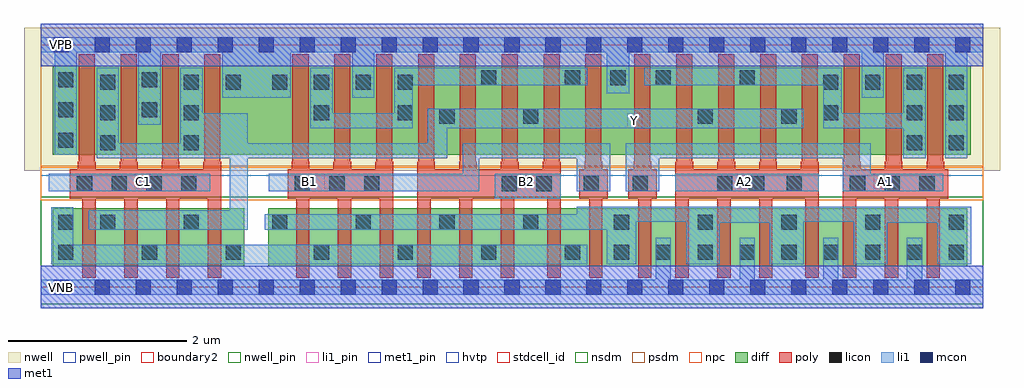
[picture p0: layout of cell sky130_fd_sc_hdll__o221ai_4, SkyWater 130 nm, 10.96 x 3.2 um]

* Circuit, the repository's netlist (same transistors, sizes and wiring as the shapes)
* Copyright 2020 The SkyWater PDK Authors
*
* Licensed under the Apache License, Version 2.0 (the "License");
* you may not use this file except in compliance with the License.
* You may obtain a copy of the License at
*
*     https://www.apache.org/licenses/LICENSE-2.0
*
* Unless required by applicable law or agreed to in writing, software
* distributed under the License is distributed on an "AS IS" BASIS,
* WITHOUT WARRANTIES OR CONDITIONS OF ANY KIND, either express or implied.
* See the License for the specific language governing permissions and
* limitations under the License.
*
* SPDX-License-Identifier: Apache-2.0

.SUBCKT sky130_fd_sc_hdll__o221ai_4 A1 A2 B1 B2 C1 VGND VNB VPB VPWR Y
*.PININFO A1:I A2:I B1:I B2:I C1:I VGND:I VNB:I VPB:I VPWR:I Y:O
MMPA0 VPWR A1 sndA1 VPB sky130_fd_pr__pfet_01v8_hvt m=4 w=1.0U l=0.18U mult=1 sa=0.265
+ sb=0.265 sd=0.28 area=0.063 perim=1.14
MMPA1 sndA1 A2 Y VPB sky130_fd_pr__pfet_01v8_hvt m=4 w=1.0U l=0.18U mult=1 sa=0.265
+ sb=0.265 sd=0.28 area=0.063 perim=1.14
MMPB0 VPWR B1 sndB1 VPB sky130_fd_pr__pfet_01v8_hvt m=4 w=1.0U l=0.18U mult=1 sa=0.265
+ sb=0.265 sd=0.28 area=0.063 perim=1.14
MMPB1 sndB1 B2 Y VPB sky130_fd_pr__pfet_01v8_hvt m=4 w=1.0U l=0.18U mult=1 sa=0.265
+ sb=0.265 sd=0.28 area=0.063 perim=1.14
MMPC0 VPWR C1 Y VPB sky130_fd_pr__pfet_01v8_hvt m=4 w=1.0U l=0.18U mult=1 sa=0.265
+ sb=0.265 sd=0.28 area=0.063 perim=1.14
MMNA0 pndA A1 VGND VNB sky130_fd_pr__nfet_01v8 m=4 w=0.65U l=0.15U mult=1 sa=0.265
+ sb=0.265 sd=0.28 area=0.063 perim=1.14
MMNA1 pndA A2 VGND VNB sky130_fd_pr__nfet_01v8 m=4 w=0.65U l=0.15U mult=1 sa=0.265
+ sb=0.265 sd=0.28 area=0.063 perim=1.14
MMNB0 pndB B1 pndA VNB sky130_fd_pr__nfet_01v8 m=4 w=0.65U l=0.15U mult=1 sa=0.265
+ sb=0.265 sd=0.28 area=0.063 perim=1.14
MMNB1 pndB B2 pndA VNB sky130_fd_pr__nfet_01v8 m=4 w=0.65U l=0.15U mult=1 sa=0.265
+ sb=0.265 sd=0.28 area=0.063 perim=1.14
MMNC0 Y C1 pndB VNB sky130_fd_pr__nfet_01v8 m=4 w=0.65U l=0.15U mult=1 sa=0.265
+ sb=0.265 sd=0.28 area=0.063 perim=1.14
.ENDS sky130_fd_sc_hdll__o221ai_4

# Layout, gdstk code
import gdstk
lib = gdstk.Library(unit=1e-6, precision=1e-09)
def R(c, l, rs):  # rectangles x0, y0, x1, y1
    for r in rs: c.add(gdstk.rectangle(r[:2], r[2:], *l))
def A(c, l, x, y, w, h, nx, ny, dx, dy):  # array of equal rectangles
    R(c, l, [(x+i*dx, y+j*dy, x+i*dx+w, y+j*dy+h) for i in range(nx) for j in range(ny)])
def P(c, l, *ps):  # polygons
    for p in ps: c.add(gdstk.Polygon(p, *l))
nwell_pin = (64, 16)
nwell = (64, 20)
diff = (65, 20)
poly = (66, 20)
licon = (66, 44)
li1_pin = (67, 16)
li1 = (67, 20)
mcon = (67, 44)
met1_pin = (68, 16)
met1 = (68, 20)
hvtp = (78, 44)
stdcell_id = (81, 4)
nsdm = (93, 44)
psdm = (94, 20)
npc = (95, 20)
pwell_pin = (122, 16)
boundary2 = (236, 0)

sky130_fd_sc_hdll__o221a = lib.new_cell('sky130_fd_sc_hdll__o221ai_4')
R(sky130_fd_sc_hdll__o221a, nwell_pin, [(0.15,2.635,0.32,2.805)])
R(sky130_fd_sc_hdll__o221a, nwell, [(-0.19,1.305,10.77,2.91)])
R(sky130_fd_sc_hdll__o221a, diff, [(0.135,0.235,2.285,0.885), (2.555,0.235,10.405,0.885), (0.135,1.485,10.44,2.485)])
P(sky130_fd_sc_hdll__o221a, poly, [(2.025,1.41),(2.015,1.41),(2.015,2.615),(1.835,2.615),(1.835,1.41),(1.825,1.41),(1.825,1.325),(1.555,1.325),(1.555,1.41),(1.545,1.41),(1.545,2.615),(1.365,2.615),(1.365,1.41),(1.355,1.41),(1.355,1.325),(1.085,1.325),(1.085,1.41),(1.075,1.41),(1.075,2.615),(0.895,2.615),(0.895,1.41),(0.885,1.41),(0.885,1.325),(0.615,1.325),(0.615,1.41),(0.605,1.41),(0.605,2.615),(0.425,2.615),(0.425,1.41),(0.415,1.41),(0.415,1.325),(0.325,1.325),(0.325,0.995),(0.465,0.995),(0.465,0.105),(0.615,0.105),(0.615,0.995),(0.935,0.995),(0.935,0.105),(1.085,0.105),(1.085,0.995),(1.405,0.995),(1.405,0.105),(1.555,0.105),(1.555,0.995),(1.875,0.995),(1.875,0.105),(2.025,0.105)],
  [(3.955,1.41),(3.945,1.41),(3.945,2.615),(3.765,2.615),(3.765,1.41),(3.755,1.41),(3.755,1.325),(3.485,1.325),(3.485,1.41),(3.475,1.41),(3.475,2.615),(3.295,2.615),(3.295,1.41),(3.285,1.41),(3.285,1.325),(3.015,1.325),(3.015,1.41),(3.005,1.41),(3.005,2.615),(2.825,2.615),(2.825,1.41),(2.815,1.41),(2.815,1.325),(2.77,1.325),(2.77,0.995),(2.865,0.995),(2.865,0.105),(3.015,0.105),(3.015,0.995),(3.335,0.995),(3.335,0.105),(3.485,0.105),(3.485,0.995),(3.805,0.995),(3.805,0.105),(3.955,0.105)],
  [(5.835,1.41),(5.825,1.41),(5.825,2.615),(5.645,2.615),(5.645,1.41),(5.635,1.41),(5.635,1.325),(5.365,1.325),(5.365,1.41),(5.355,1.41),(5.355,2.615),(5.175,2.615),(5.175,1.41),(5.165,1.41),(5.165,1.325),(4.895,1.325),(4.895,1.41),(4.885,1.41),(4.885,2.615),(4.705,2.615),(4.705,1.41),(4.695,1.41),(4.695,1.325),(4.425,1.325),(4.425,1.41),(4.415,1.41),(4.415,2.615),(4.235,2.615),(4.235,1.41),(4.225,1.41),(4.225,0.105),(4.375,0.105),(4.375,0.995),(4.695,0.995),(4.695,0.105),(4.845,0.105),(4.845,0.995),(5.165,0.995),(5.165,0.105),(5.315,0.105),(5.315,0.995),(5.685,0.995),(5.685,0.105),(5.835,0.105)],
  [(6.365,1.325),(6.305,1.325),(6.305,1.41),(6.295,1.41),(6.295,2.615),(6.115,2.615),(6.115,1.41),(6.105,1.41),(6.105,1.325),(6.045,1.325),(6.045,0.995),(6.155,0.995),(6.155,0.105),(6.305,0.105),(6.305,0.995),(6.365,0.995)],
  [(6.915,1.325),(6.855,1.325),(6.855,1.41),(6.845,1.41),(6.845,2.615),(6.665,2.615),(6.665,1.41),(6.655,1.41),(6.655,1.325),(6.595,1.325),(6.595,0.995),(6.705,0.995),(6.705,0.105),(6.855,0.105),(6.855,0.995),(6.915,0.995)],
  [(8.735,1.41),(8.725,1.41),(8.725,2.615),(8.545,2.615),(8.545,1.41),(8.535,1.41),(8.535,1.325),(8.265,1.325),(8.265,1.41),(8.255,1.41),(8.255,2.615),(8.075,2.615),(8.075,1.41),(8.065,1.41),(8.065,1.325),(7.795,1.325),(7.795,1.41),(7.785,1.41),(7.785,2.615),(7.605,2.615),(7.605,1.41),(7.595,1.41),(7.595,1.325),(7.325,1.325),(7.325,1.41),(7.315,1.41),(7.315,2.615),(7.135,2.615),(7.135,1.41),(7.125,1.41),(7.125,0.105),(7.275,0.105),(7.275,0.995),(7.595,0.995),(7.595,0.105),(7.745,0.105),(7.745,0.995),(8.065,0.995),(8.065,0.105),(8.215,0.105),(8.215,0.995),(8.585,0.995),(8.585,0.105),(8.735,0.105)],
  [(10.19,1.325),(10.145,1.325),(10.145,1.41),(10.135,1.41),(10.135,2.615),(9.955,2.615),(9.955,1.41),(9.945,1.41),(9.945,1.325),(9.675,1.325),(9.675,1.41),(9.665,1.41),(9.665,2.615),(9.485,2.615),(9.485,1.41),(9.475,1.41),(9.475,1.325),(9.205,1.325),(9.205,1.41),(9.195,1.41),(9.195,2.615),(9.015,2.615),(9.015,1.41),(9.005,1.41),(9.005,0.105),(9.155,0.105),(9.155,0.995),(9.475,0.995),(9.475,0.105),(9.625,0.105),(9.625,0.995),(9.945,0.995),(9.945,0.105),(10.095,0.105),(10.095,0.995),(10.19,0.995)])
A(sky130_fd_sc_hdll__o221a, licon, 0.195, 0.305, 0.17, 0.17, 3, 1, 0.94, 0)
A(sky130_fd_sc_hdll__o221a, licon, 3.065, 0.305, 0.17, 0.17, 4, 1, 0.94, 0)
A(sky130_fd_sc_hdll__o221a, licon, 6.435, 0.305, 0.17, 0.17, 9, 1, 0.47, 0)
A(sky130_fd_sc_hdll__o221a, licon, 2.595, 0.645, 0.17, 0.17, 4, 1, 0.94, 0)
A(sky130_fd_sc_hdll__o221a, licon, 6.435, 0.645, 0.17, 0.17, 5, 1, 0.94, 0)
A(sky130_fd_sc_hdll__o221a, licon, 0.405, 1.075, 0.17, 0.17, 4, 1, 0.39, 0)
A(sky130_fd_sc_hdll__o221a, licon, 2.85, 1.075, 0.17, 0.17, 3, 1, 0.39, 0)
A(sky130_fd_sc_hdll__o221a, licon, 9.085, 1.075, 0.17, 0.17, 3, 1, 0.39, 0)
A(sky130_fd_sc_hdll__o221a, licon, 0.665, 1.535, 0.17, 0.17, 1, 3, 0, 0.34)
A(sky130_fd_sc_hdll__o221a, licon, 1.605, 1.535, 0.17, 0.17, 1, 3, 0, 0.34)
A(sky130_fd_sc_hdll__o221a, licon, 0.195, 1.565, 0.17, 0.17, 1, 3, 0, 0.34)
A(sky130_fd_sc_hdll__o221a, licon, 2.595, 2.215, 0.17, 0.17, 4, 1, 0.47, 0)
A(sky130_fd_sc_hdll__o221a, licon, 8.785, 2.215, 0.17, 0.17, 4, 1, 0.47, 0)
A(sky130_fd_sc_hdll__o221a, licon, 5.885, 2.265, 0.17, 0.17, 3, 1, 0.51, 0)
R(sky130_fd_sc_hdll__o221a, licon, [(0.195,0.645,0.365,0.815), (0.665,0.645,0.835,0.815), (1.605,0.645,1.775,0.815), (5.175,1.075,5.345,1.245), (5.565,1.075,5.735,1.245), (6.095,1.075,6.265,1.245), (6.645,1.075,6.815,1.245), (7.595,1.075,7.765,1.245), (7.95,1.075,8.12,1.245), (8.375,1.075,8.545,1.245), (9.725,1.535,9.895,1.705), (10.195,1.535,10.365,1.705), (4.475,1.835,4.645,2.005), (5.415,1.835,5.585,2.005), (7.375,1.835,7.545,2.005), (8.315,1.835,8.485,2.005), (3.065,1.875,3.235,2.045), (4.005,1.875,4.175,2.045), (8.785,1.875,8.955,2.045), (9.725,1.875,9.895,2.045), (10.195,1.875,10.365,2.045), (1.135,1.905,1.305,2.075), (2.075,2.215,2.245,2.385), (1.135,2.245,1.305,2.415), (4.945,2.265,5.115,2.435), (7.845,2.265,8.015,2.435)])
R(sky130_fd_sc_hdll__o221a, li1_pin, [(1.055,1.105,1.225,1.275), (3.18,1.105,3.35,1.275), (5.22,1.105,5.39,1.275), (7.82,1.105,7.99,1.275), (9.35,1.105,9.52,1.275), (6.585,1.785,6.755,1.955)])
R(sky130_fd_sc_hdll__o221a, li1, [(5.095,0.995,5.835,1.275), (0.09,1.075,1.9,1.275), (7.125,1.075,8.735,1.275)])
P(sky130_fd_sc_hdll__o221a, li1, [(10.58,2.805),(0,2.805),(0,2.635),(0.155,2.635),(0.155,1.485),(0.405,1.485),(0.405,2.635),(1.095,2.635),(1.095,1.825),(1.345,1.825),(1.345,2.635),(2.035,2.635),(2.035,2.125),(2.805,2.125),(2.805,2.635),(3.495,2.635),(3.495,2.125),(3.745,2.125),(3.745,2.635),(6.355,2.635),(6.355,2.175),(6.605,2.175),(6.605,2.635),(9.215,2.635),(9.215,2.125),(9.465,2.125),(9.465,2.635),(10.155,2.635),(10.155,1.445),(10.405,1.445),(10.405,2.635),(10.58,2.635)],
  [(10.135,1.275),(9.32,1.275),(9.32,1.615),(6.565,1.615),(6.565,1.075),(6.945,1.075),(6.945,1.445),(9.005,1.445),(9.005,1.075),(10.135,1.075)],
  [(10.58,0.085),(9.895,0.085),(9.895,0.555),(9.725,0.555),(9.725,0.085),(8.955,0.085),(8.955,0.555),(8.785,0.555),(8.785,0.085),(8.015,0.085),(8.015,0.555),(7.845,0.555),(7.845,0.085),(7.075,0.085),(7.075,0.555),(6.905,0.555),(6.905,0.085),(0,0.085),(0,-0.085),(10.58,-0.085)],
  [(6.135,2.465),(3.965,2.465),(3.965,1.955),(3.275,1.955),(3.275,2.465),(3.025,2.465),(3.025,1.785),(4.175,1.785),(4.175,2.265),(6.135,2.265)],
  [(6.135,0.475),(0.365,0.475),(0.365,0.895),(0.115,0.895),(0.115,0.255),(6.135,0.255)],
  [(6.395,1.615),(4.735,1.615),(4.735,1.275),(2.56,1.275),(2.56,1.075),(4.925,1.075),(4.925,1.445),(6.015,1.445),(6.015,1.075),(6.395,1.075)],
  [(8.565,2.005),(4.345,2.005),(4.345,1.615),(2.325,1.615),(2.325,1.955),(1.815,1.955),(1.815,2.465),(1.565,2.465),(1.565,1.615),(0.875,1.615),(0.875,2.465),(0.625,2.465),(0.625,1.445),(2.12,1.445),(2.12,0.865),(0.535,0.865),(0.535,0.645),(2.325,0.645),(2.325,1.445),(4.565,1.445),(4.565,1.785),(8.565,1.785)],
  [(9.935,2.465),(9.685,2.465),(9.685,1.955),(8.995,1.955),(8.995,2.465),(6.775,2.465),(6.775,2.265),(8.785,2.265),(8.785,1.785),(9.685,1.785),(9.685,1.445),(9.935,1.445)],
  [(10.445,0.905),(6.015,0.905),(6.015,0.82),(2.515,0.82),(2.515,0.645),(6.355,0.645),(6.355,0.255),(6.685,0.255),(6.685,0.735),(7.245,0.735),(7.245,0.255),(7.625,0.255),(7.625,0.725),(8.185,0.725),(8.185,0.255),(8.565,0.255),(8.565,0.735),(9.125,0.735),(9.125,0.255),(9.505,0.255),(9.505,0.725),(10.065,0.725),(10.065,0.255),(10.445,0.255)])
A(sky130_fd_sc_hdll__o221a, mcon, 0.145, -0.085, 0.17, 0.17, 23, 2, 0.46, 2.72)
R(sky130_fd_sc_hdll__o221a, met1_pin, [(0.15,-0.085,0.32,0.085), (0.15,2.635,0.32,2.805)])
R(sky130_fd_sc_hdll__o221a, met1, [(0,-0.24,10.58,0.24), (0,2.48,10.58,2.96)])
R(sky130_fd_sc_hdll__o221a, hvtp, [(0,1.25,10.58,2.72)])
R(sky130_fd_sc_hdll__o221a, stdcell_id, [(0,0,10.58,2.72)])
R(sky130_fd_sc_hdll__o221a, nsdm, [(0,-0.19,10.58,1.015)])
R(sky130_fd_sc_hdll__o221a, psdm, [(0,1.355,10.58,2.91)])
R(sky130_fd_sc_hdll__o221a, npc, [(0,0.975,10.58,1.345)])
R(sky130_fd_sc_hdll__o221a, pwell_pin, [(0.15,-0.085,0.32,0.085)])
R(sky130_fd_sc_hdll__o221a, boundary2, [(0,0,10.58,2.72)])
sky130_fd_sc_hdll__o221a.add(gdstk.Label('B1', (3.015,1.19), layer=67, texttype=5))
sky130_fd_sc_hdll__o221a.add(gdstk.Label('B2', (5.455,1.19), layer=67, texttype=5))
sky130_fd_sc_hdll__o221a.add(gdstk.Label('A2', (7.9,1.19), layer=67, texttype=5))
sky130_fd_sc_hdll__o221a.add(gdstk.Label('C1', (1.155,1.19), layer=67, texttype=5))
sky130_fd_sc_hdll__o221a.add(gdstk.Label('Y', (6.67,1.87), layer=67, texttype=5))
sky130_fd_sc_hdll__o221a.add(gdstk.Label('A1', (9.485,1.19), layer=67, texttype=5))
sky130_fd_sc_hdll__o221a.add(gdstk.Label('VNB', (0.235,0), layer=64, texttype=59))
sky130_fd_sc_hdll__o221a.add(gdstk.Label('VPB', (0.235,2.72), layer=64, texttype=5))
sky130_fd_sc_hdll__o221a.add(gdstk.Label('VGND', (0.23,0), layer=68, texttype=5))
sky130_fd_sc_hdll__o221a.add(gdstk.Label('VPWR', (0.23,2.72), layer=68, texttype=5))
sky130_fd_sc_hdll__o221a.add(gdstk.Label('o221ai_4', (0,0), layer=83, texttype=44))

lib.write_gds('sky130_fd_sc_hdll__o221ai_4.gds')
